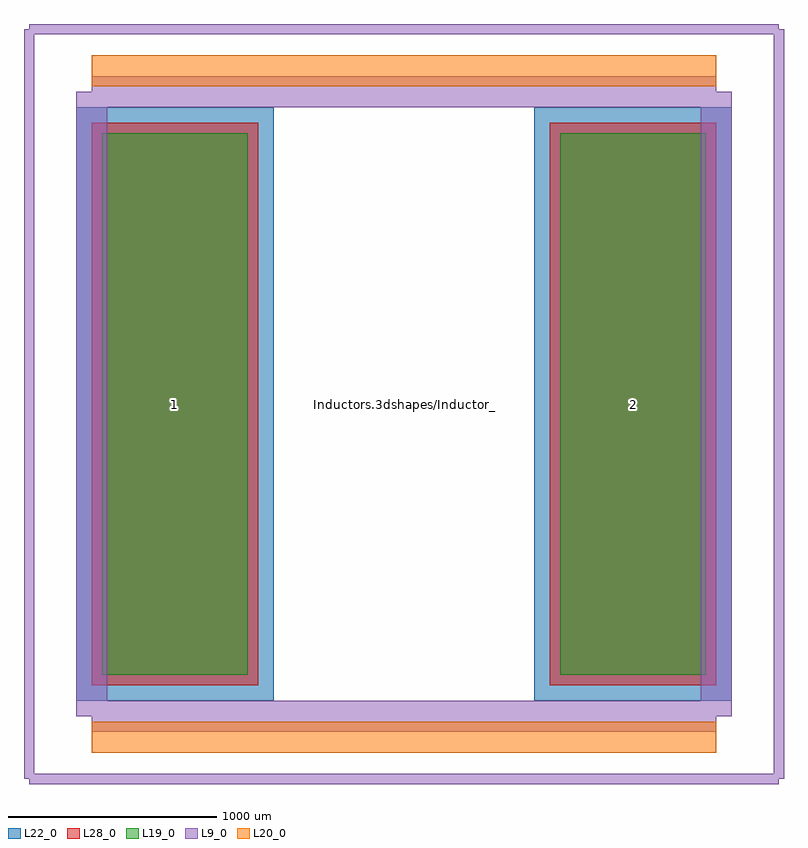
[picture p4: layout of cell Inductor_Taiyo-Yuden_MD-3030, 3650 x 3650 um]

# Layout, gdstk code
import gdstk
lib = gdstk.Library(unit=1e-6, precision=1e-09)
def R(c, l, rs):  # rectangles x0, y0, x1, y1
    for r in rs: c.add(gdstk.rectangle(r[:2], r[2:], *l))
L9_0 = (9, 0)
L19_0 = (19, 0)
L20_0 = (20, 0)
L22_0 = (22, 0)
L28_0 = (28, 0)

inductor_taiyo_yuden_md_ = lib.new_cell('Inductor_Taiyo-Yuden_MD-3030')
R(inductor_taiyo_yuden_md_, L19_0, [(-1450,-1300,-750,1300), (750,-1300,1450,1300)])
R(inductor_taiyo_yuden_md_, L22_0, [(-1575,-1425,-625,1425), (625,-1425,1575,1425)])
R(inductor_taiyo_yuden_md_, L28_0, [(-1500,-1350,-700,1350), (700,-1350,1500,1350)])
inductor_taiyo_yuden_md_.add(gdstk.FlexPath([(1800,1800),(-1800,1800)], 50, ends="flush", simple_path=True, layer=9, datatype=0))  # L9_0
inductor_taiyo_yuden_md_.add(gdstk.FlexPath([(1800,-1800),(1800,1800)], 50, ends="flush", simple_path=True, layer=9, datatype=0))  # L9_0
inductor_taiyo_yuden_md_.add(gdstk.FlexPath([(-1800,-1800),(1800,-1800)], 50, ends="flush", simple_path=True, layer=9, datatype=0))  # L9_0
inductor_taiyo_yuden_md_.add(gdstk.FlexPath([(-1800,1800),(-1800,-1800)], 50, ends="flush", simple_path=True, layer=9, datatype=0))  # L9_0
inductor_taiyo_yuden_md_.add(gdstk.FlexPath([(-1500,-1600),(1500,-1600)], 149.998, ends="flush", simple_path=True, layer=20, datatype=0))  # L20_0
inductor_taiyo_yuden_md_.add(gdstk.FlexPath([(-1500,1600),(1500,1600)], 149.998, ends="flush", simple_path=True, layer=20, datatype=0))  # L20_0
inductor_taiyo_yuden_md_.add(gdstk.FlexPath([(1500,1500),(-1500,1500)], 149.998, ends="flush", simple_path=True, layer=9, datatype=0))  # L9_0
inductor_taiyo_yuden_md_.add(gdstk.FlexPath([(1500,-1500),(1500,1500)], 149.998, ends="flush", simple_path=True, layer=9, datatype=0))  # L9_0
inductor_taiyo_yuden_md_.add(gdstk.FlexPath([(-1500,-1500),(1500,-1500)], 149.998, ends="flush", simple_path=True, layer=9, datatype=0))  # L9_0
inductor_taiyo_yuden_md_.add(gdstk.FlexPath([(-1500,1500),(-1500,-1500)], 149.998, ends="flush", simple_path=True, layer=9, datatype=0))  # L9_0
inductor_taiyo_yuden_md_.add(gdstk.Label('Inductors.3dshapes/Inductor_Taiyo-Yuden_MD-3030.wrl', (0,0), layer=12, texttype=0))
inductor_taiyo_yuden_md_.add(gdstk.Label('2', (1100,0), layer=28, texttype=0))
inductor_taiyo_yuden_md_.add(gdstk.Label('1', (-1100,0), layer=28, texttype=0))
inductor_taiyo_yuden_md_.add(gdstk.Label('type', (0,-3000), layer=9, texttype=0))
inductor_taiyo_yuden_md_.add(gdstk.Label('devicename', (0,2500), layer=9, texttype=0))

lib.write_gds('Inductor_Taiyo-Yuden_MD-3030.gds')
